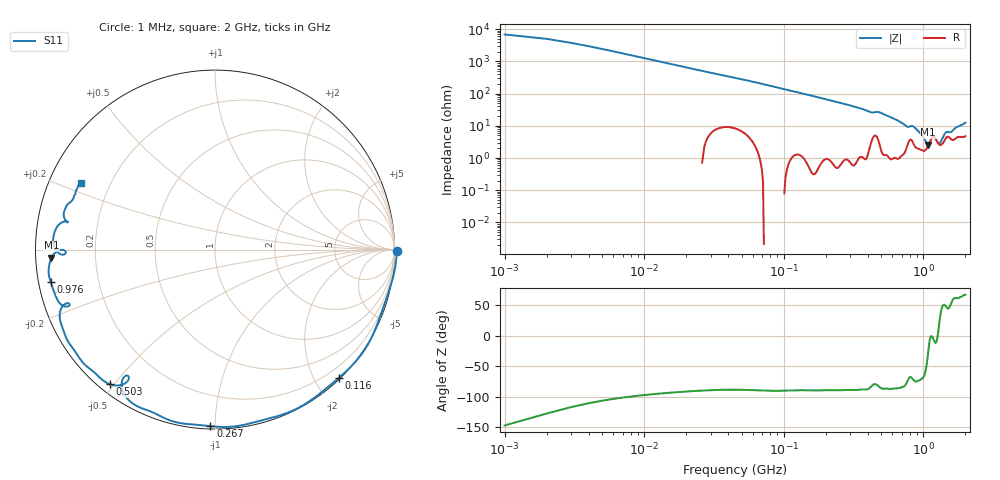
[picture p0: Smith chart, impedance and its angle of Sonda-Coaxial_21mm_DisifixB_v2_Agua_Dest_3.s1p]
! TOUCHSTONE file generated by CST MICROWAVE STUDIO
! Date and time: Tue Aug  4 15:55:26 2026
! Project name: Sonda-Coaxial_21mm_DisifixB_v2_Agua_Dest.cst
! Parameters = {h_recipiente=20; l_conector=5; r_arandela=35; r_ext=10.5; r_int=3; r_recipiente=50; z_recipiente=-20}
! Header version: 2018
! Port assignment regex: !\s*Touchstone port\s*([0-9]+)\s*=\s*(CST MWS port|CST DS port)\s*([0-9]+|Zmin|Zmax)\s*\(\"(.*)\"\)(\s*mode\s*([0-9]+))?.*
! Touchstone port assignment:
! Touchstone port 1 = CST MWS port 1 ("")
# GHz S RI R 50
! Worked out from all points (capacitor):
!   2000 points, 1 MHz to 2 GHz, reference 50 ohm
!   read as one part to ground: C = 12.4 pF near 11 MHz
!   lowest |Z| = 2.61 ohm at 1.081 GHz (marker M1)
!   series resonance near 1.266 GHz, so ESL is about 1.3 nH
!   S11 on the Smith chart (normalised r, x): 1 MHz: open; 116 MHz: 0.02, -2.36; 267 MHz: 0.02, -0.97; 503 MHz: 0.03, -0.49; 976 MHz: 0.04, -0.10; 2 GHz: 0.10, +0.23
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0.001  1.012 -0.008
0.068  0.8876 -0.4568
0.116  0.6903 -0.7142
0.176  0.4014 -0.91
0.251  0.0438 -0.9884
0.267  -0.0257 -0.9833
0.323  -0.2424 -0.9544
0.404  -0.4997 -0.8151
0.442  -0.4969 -0.7028
0.469  -0.4864 -0.7319
0.501  -0.5795 -0.7521
0.503  -0.586 -0.75
0.601  -0.758 -0.6001
0.751  -0.8638 -0.3493
0.784  -0.8327 -0.3015
0.818  -0.8101 -0.3087
0.859  -0.8528 -0.3095
0.976  -0.9147 -0.1822
1.001  -0.9235 -0.1526
1.081  -0.911 -0.0451
1.176  -0.8319 -0.0123
1.251  -0.8772 -0.0135
1.322  -0.9012 0.0612
1.405  -0.8667 0.1422
1.501  -0.8189 0.1523
1.611  -0.8427 0.2013
1.751  -0.7975 0.2719
2  -0.7471 0.3711
